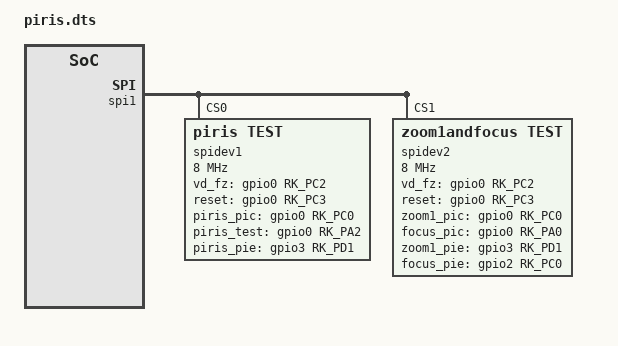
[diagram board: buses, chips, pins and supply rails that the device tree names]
&spi1 {
    status = "okay";
    max-freq = <50000000>;
    pinctrl-names = "default", "high_speed","pic-gpio" ;
    assigned-clocks = <&pmucru CLK_SPI0>;
    assigned-clock-rates = <100000000>;
    pinctrl-0 = <&spi1m2_cs0 &spi1m2_cs1   &spi1m2_pins &pic_gpio>;//&pic_gpio需要设置为上拉，在pirctrl.dtsi中配置
    pinctrl-1 = <&spi1m2_cs0 &spi1m2_cs1   &spi1m2_pins_hs>;
	
    //具体驱动设置参数含义参考Rockchip_Driver_Guide_VI_CN_v1.0.8文件解释
    //1. spi子设备1为控制piris光圈设备
    spidev1: test@00 {
        compatible = "piris,test";
        spi-max-frequency = <8000000>;  // SPI 通讯速率
        vd_fz-period-us = <25000>;
        vd_fz-gpios=<&gpio0 RK_PC2 GPIO_ACTIVE_HIGH>;       // MOTOR_VD_FZ_Len1（GPIO0 C2） ：同步信号
        use-p-iris;
        piris-used-pin="ab";
        piris-backlash=<0>;
        piris-start-up-speed=<120>; // piris速度为120PPS，其余电机为800PPS
        piris-step-max=<50>;
        piris-ppw=<100>;
        piris-micro=<256>;
        piris-min-pos=<4>;
        piris-max-pos=<46>;
        piris-reback-distance=<0>;
        reset-gpios=<&gpio0 RK_PC3 GPIO_ACTIVE_HIGH>;       // MOTOR_RST_Len1 管脚（GPIO0 C3）：复位
        piris_pic-gpios=<&gpio0 RK_PC0 GPIO_ACTIVE_HIGH>;   // P-IRIS_COLLECTOR （GPIO0 C0） ：光耦的 C 引脚，检测电平变化
        bias-pull-up; // 收集GPIO需要改完上拉
        piris_test-gpios=<&gpio0 RK_PA2 GPIO_ACTIVE_HIGH>;  // P-IRIS_COLLECTOR （GPIO0 C2）：ms41928 测试模式输入
        piris_pie-gpios=<&gpio3 RK_PD1 GPIO_ACTIVE_HIGH>;   // P-IRIS_Opto_EN (GPIO3 D1)：使能光耦
        piris-1-2phase-excitation;
        rockchip,camera-module-facing="front";
        reg = <0>; //cs0
    };
    
    //2. 子设备2为控制zoom1andfocus设备，
	spidev2: test1@00 {
        compatible = "zoom1andfocus,test";
        spi-max-frequency = <8000000>;
        vd_fz-period-us = <10000>;
        vd_fz-gpios=<&gpio0 RK_PC2 GPIO_ACTIVE_HIGH>;
        use-zoom1;
        // use-focus;
        zoom1-used-pin="ab";
        focus-used-pin="cd";
        zoom1-backlash=<0>;
        focus-backlash=<0>;
        zoom1-start-up-speed=<800>;
        focus-start-up-speed=<800>;
        focus-step-max=<50>;
        zoom1-step-max=<50>;
        focus-ppw=<200>;
        zoom1-ppw=<200>;
        focus-micro=<64>;
        zoom1-micro=<64>;
        focus-min-pos=<4>;
        focus-max-pos=<46>;
        zoom1-min-pos=<4>;
        zoom1-max-pos=<46>;
        zoom1-reback-distance=<0>;
        focus-reback-distance=<0>;
        //具体GPIO还需后面选，这里和光圈使用同组测试
        reset-gpios=<&gpio0 RK_PC3 GPIO_ACTIVE_HIGH>;
        zoom1_pic-gpios=<&gpio0 RK_PC0 GPIO_ACTIVE_HIGH>;
        // 增加 focus_pic，但使用别的 IO（因为现在硬件没接）
        focus_pic-gpios=<&gpio0 RK_PA0 GPIO_ACTIVE_HIGH>;
        bias-pull-up;
        zoom1_pie-gpios=<&gpio3 RK_PD1 GPIO_ACTIVE_HIGH>;
        // 增加 focus_pie
        focus_pie-gpios=<&gpio2 RK_PC0 GPIO_ACTIVE_HIGH>;

        zoom1-1-2phase-excitation;
        rockchip,camera-module-facing="front";
        reg = <1>; //cs1
    };
};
